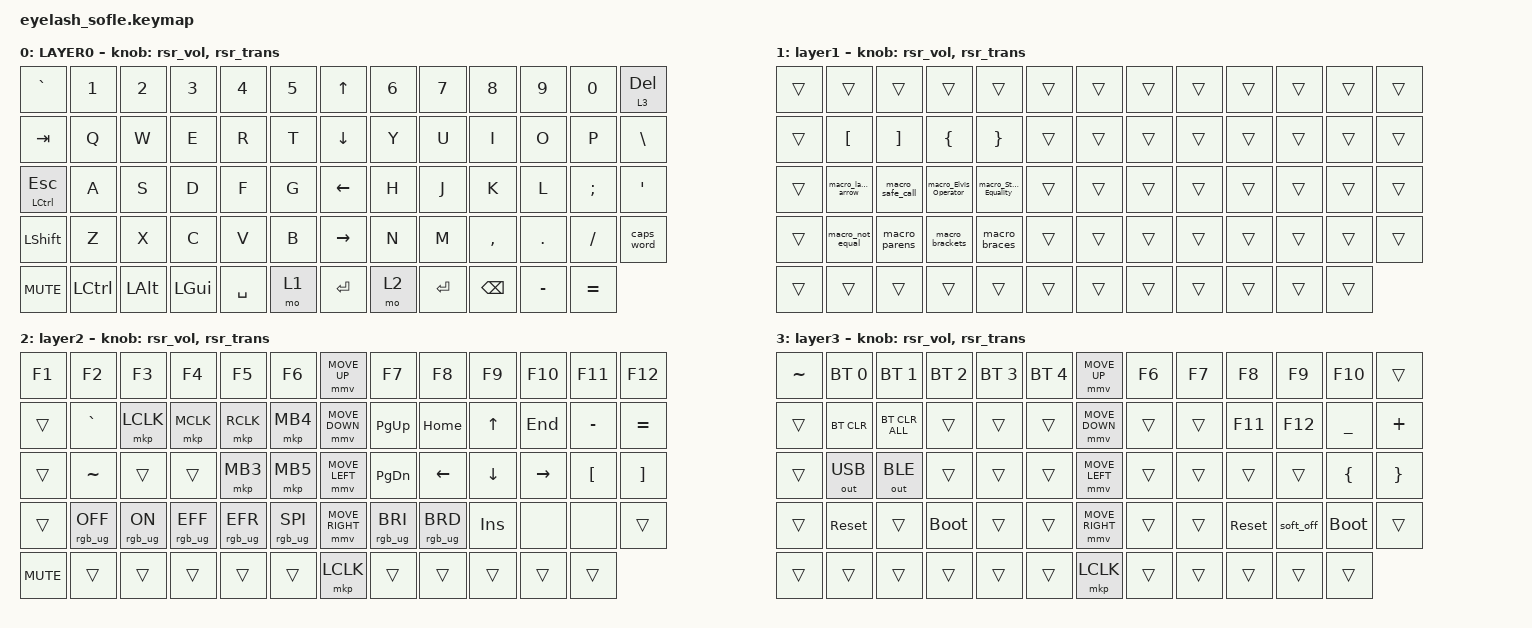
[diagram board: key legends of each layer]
#include <input/processors.dtsi>
#include <zephyr/dt-bindings/input/input-event-codes.h>
#include <behaviors.dtsi>
#include <dt-bindings/zmk/bt.h>
#include <dt-bindings/zmk/keys.h>
#include <dt-bindings/zmk/outputs.h>
#include <dt-bindings/zmk/pointing.h>
#include <dt-bindings/zmk/rgb.h>
#include <behaviors/runtime-sensor-rotate.dtsi>

/ {
    zip_scroll_scaler: zip_scroll_scaler {
        compatible = "zmk,input-processor-scaler";
        #input-processor-cells = <2>;
        type = <INPUT_EV_REL>;
        codes = <INPUT_REL_WHEEL INPUT_REL_HWHEEL>;
        track-remainders;
    };
};

&mmv_input_listener { input-processors = <&zip_xy_scaler 2 1>; };

&msc_input_listener { input-processors = <&zip_scroll_scaler 2 1>; };

&msc {
    acceleration-exponent = <0>;      // 0
    time-to-max-speed-ms = <0>;       // 300
    delay-ms = <0>;                   // 0
};

&mmv {
    time-to-max-speed-ms = <400>;
    acceleration-exponent = <1>;
};

&soft_off { hold-time-ms = <2000>; };

/ {
    behaviors {
        rsr_vol: rsr_vol {
            compatible = "zmk,behavior-runtime-sensor-rotate";
            #sensor-binding-cells = <0>;
            tap-ms = <5>;
            cw-binding = <&kp C_VOL_UP>;
            ccw-binding = <&kp C_VOL_DN>;
        };

        rsr_trans: rsr_trans {
            compatible = "zmk,behavior-runtime-sensor-rotate";
            #sensor-binding-cells = <0>;
            tap-ms = <0>;
        };
    };

    macros {
        shift_MB3: shift_MB3 {
            compatible = "zmk,behavior-macro";
            #binding-cells = <0>;
            bindings =
                <&macro_press>,
                <&kp LEFT_SHIFT>,
                <&macro_press>,
                <&mkp MB3>,
                <&macro_pause_for_release>,
                <&macro_release>,
                <&mkp MB3 &kp LEFT_SHIFT>;

            label = "SHIFT_MB3";
        };

        macro_safe_call: macro_safe_call {
            compatible = "zmk,behavior-macro";
            #binding-cells = <0>;
            bindings = <&kp QMARK &kp DOT>;
            label = "MACRO_SAFE_CALL";
        };

        macro_lamda_arrow: macro_lamda_arrow {
            compatible = "zmk,behavior-macro";
            #binding-cells = <0>;
            bindings = <&kp MINUS &kp GT>;
            label = "MACRO_LAMDA_ARROW";
        };

        macro_Elvis_Operator: macro_Elvis_Operator {
            compatible = "zmk,behavior-macro";
            #binding-cells = <0>;
            bindings = <&kp QMARK &kp COLON>;
            label = "MACRO_ELVIS_OPERATOR";
        };

        macro_Structural_Equality: macro_Structural_Equality {
            compatible = "zmk,behavior-macro";
            #binding-cells = <0>;
            bindings = <&kp EQUAL &kp EQUAL>;
            label = "MACRO_STRUCTURAL_EQUALITY";
        };

        macro_not_equal: macro_not_equal {
            compatible = "zmk,behavior-macro";
            #binding-cells = <0>;
            bindings = <&kp EXCLAMATION &kp EQUAL>;
            label = "MACRO_NOT_EQUAL";
        };

        macro_parens: macro_parens {
            compatible = "zmk,behavior-macro";
            #binding-cells = <0>;
            bindings = <&kp LPAR &kp RPAR>;
            label = "MACRO_PARENS";
        };

        macro_brackets: macro_brackets {
            compatible = "zmk,behavior-macro";
            #binding-cells = <0>;
            bindings = <&kp LEFT_BRACKET &kp RIGHT_BRACKET>;
            label = "MACRO_BRACKETS";
        };

        macro_braces: macro_braces {
            compatible = "zmk,behavior-macro";
            #binding-cells = <0>;
            bindings = <&kp LEFT_BRACE &kp RIGHT_BRACE>;
            label = "MACRO_BRACES";
        };
    };

    combos {
        compatible = "zmk,combos";

        softoff {
            bindings = <&soft_off>;
            key-positions = <14 28 40>;
        };
    };

    keymap {
        compatible = "zmk,keymap";

        layer0 {
            bindings = <
&kp GRAVE         &kp N1     &kp N2    &kp N3        &kp N4     &kp N5    &kp UP_ARROW     &kp N6  &kp N7     &kp N8         &kp N9     &kp N0     &lt 3 DELETE
&kp TAB     &kp Q      &kp W         &kp E         &kp R   &kp T        &kp DOWN_ARROW   &kp Y      &kp U      &kp I      &kp O            &kp P       &kp BSLH
&mt LCTRL ESCAPE  &kp A      &kp S     &kp D         &kp F      &kp G     &kp LEFT_ARROW   &kp H   &kp J      &kp K          &kp L      &kp SEMI   &kp APOS
&kp LSHFT         &kp Z      &kp X     &kp C         &kp V      &kp B     &kp RIGHT_ARROW  &kp N   &kp M      &kp COMMA      &kp DOT    &kp FSLH   &caps_word
&kp C_MUTE        &kp LCTRL  &kp LALT  &kp LEFT_GUI  &kp SPACE  &mo 1     &kp ENTER        &mo 2   &kp ENTER  &kp BACKSPACE  &kp MINUS  &kp EQUAL
            >;
            sensor-bindings = <&rsr_vol &rsr_trans>;
            display-name = "LAYER0";
        };

        layer_1 {
            bindings = <
&trans  &trans              &trans             &trans                 &trans                      &trans    &trans  &trans  &trans  &trans  &trans  &trans  &trans
&trans  &kp LEFT_BRACKET    &kp RIGHT_BRACKET  &kp LEFT_BRACE         &kp RIGHT_BRACE             &trans    &trans  &trans  &trans  &trans  &trans  &trans  &trans
&trans  &macro_lamda_arrow  &macro_safe_call   &macro_Elvis_Operator  &macro_Structural_Equality  &trans    &trans  &trans  &trans  &trans  &trans  &trans  &trans
&trans  &macro_not_equal    &macro_parens      &macro_brackets        &macro_braces               &trans    &trans  &trans  &trans  &trans  &trans  &trans  &trans
&trans  &trans              &trans             &trans                 &trans                      &trans    &trans  &trans  &trans  &trans  &trans  &trans
            >;

            display-name = "layer1";
            sensor-bindings = <&rsr_vol &rsr_trans>;
            label = "layer1";
        };

        layer_2 {
            bindings = <
&kp F1      &kp F2           &kp F3          &kp F4           &kp F5           &kp F6             &mmv MOVE_UP     &kp F7           &kp F8           &kp F9      &kp F10    &kp F11           &kp F12
&trans      &kp GRAVE        &mkp LCLK       &mkp MCLK        &mkp RCLK        &mkp MB4           &mmv MOVE_DOWN   &kp PG_UP        &kp HOME         &kp UP      &kp END    &kp MINUS         &kp EQUAL
&trans      &kp TILDE        &trans          &trans           &mkp MB3         &mkp MB5           &mmv MOVE_LEFT   &kp PG_DN        &kp LEFT         &kp DOWN    &kp RIGHT  &kp LEFT_BRACKET  &kp RIGHT_BRACKET
&trans      &rgb_ug RGB_OFF  &rgb_ug RGB_ON  &rgb_ug RGB_EFF  &rgb_ug RGB_EFR  &rgb_ug RGB_SPI    &mmv MOVE_RIGHT  &rgb_ug RGB_BRI  &rgb_ug RGB_BRD  &kp INSERT  &none      &none             &trans
&kp C_MUTE  &trans           &trans          &trans           &trans           &trans             &mkp LCLK        &trans           &trans           &trans      &trans     &trans
            >;
            display-name = "layer2";
            sensor-bindings = <&rsr_vol &rsr_trans>;
            label = "layer2";
        };

        layer_3 {
            bindings = <
&kp TILDE  &bt BT_SEL 0  &bt BT_SEL 1    &bt BT_SEL 2  &bt BT_SEL 3  &bt BT_SEL 4    &mmv MOVE_UP     &kp F6  &kp F7  &kp F8      &kp F9     &kp F10      &trans
&trans     &bt BT_CLR    &bt BT_CLR_ALL  &trans        &trans        &trans          &mmv MOVE_DOWN   &trans  &trans  &kp F11     &kp F12    &kp UNDER    &kp PLUS
&trans     &out OUT_USB  &out OUT_BLE    &trans        &trans        &trans          &mmv MOVE_LEFT   &trans  &trans  &trans      &trans     &kp LBRC     &kp RBRC
&trans     &sys_reset    &trans          &bootloader   &trans        &trans          &mmv MOVE_RIGHT  &trans  &trans  &sys_reset  &soft_off  &bootloader  &trans
&trans     &trans        &trans          &trans        &trans        &trans          &mkp LCLK        &trans  &trans  &trans      &trans     &trans
            >;
           display-name = "layer3";
           sensor-bindings = <&rsr_vol &rsr_trans>;
           label = "layer3";
        };
    };
};
